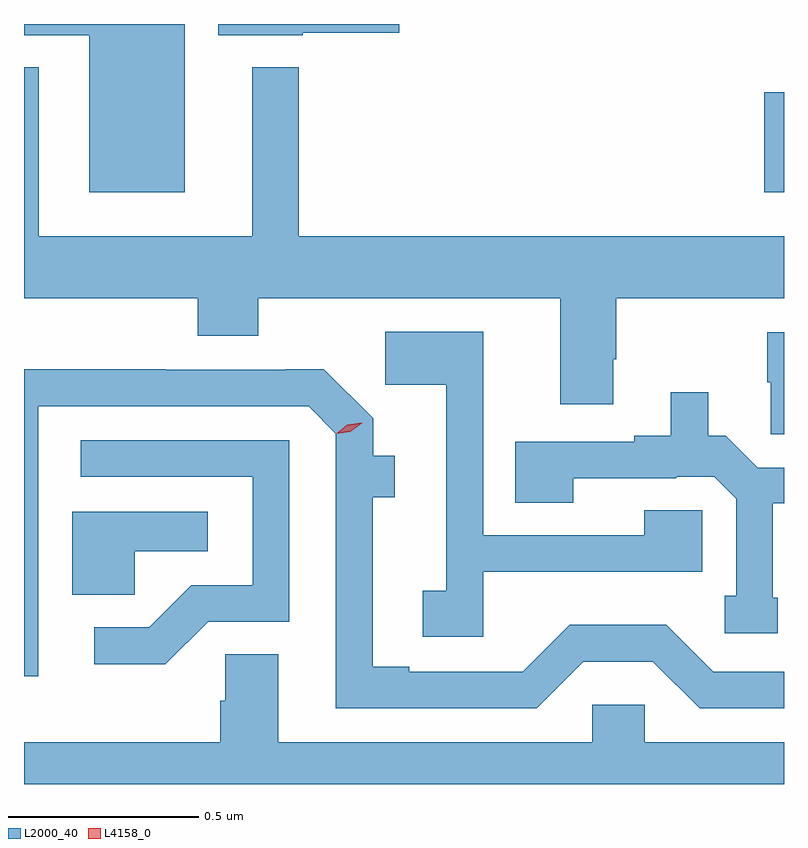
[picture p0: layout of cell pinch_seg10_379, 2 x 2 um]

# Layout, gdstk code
import gdstk
lib = gdstk.Library(unit=1e-6, precision=1e-09)
def R(c, l, rs):  # rectangles x0, y0, x1, y1
    for r in rs: c.add(gdstk.rectangle(r[:2], r[2:], *l))
def P(c, l, *ps):  # polygons
    for p in ps: c.add(gdstk.Polygon(p, *l))
L2000_40 = (2000, 40)
L4158_0 = (4158, 0)

pinch_seg10_379 = lib.new_cell('pinch_seg10_379')
R(pinch_seg10_379, L2000_40, [(448.19,1268.627,448.242,1268.89)])
P(pinch_seg10_379, L2000_40, [(446.976,1269.047),(447.229,1269.047),(447.229,1269.07),(446.753,1269.07),(446.753,1269.041),(446.976,1269.041)],
  [(446.665,1269.07),(446.242,1269.07),(446.242,1269.041),(446.414,1269.041),(446.414,1268.627),(446.665,1268.627)],
  [(447.793,1268.188),(447.801,1268.188),(447.801,1268.348),(448.242,1268.348),(448.242,1268.512),(446.965,1268.512),(446.965,1268.956),(446.843,1268.956),(446.843,1268.512),(446.281,1268.512),(446.281,1268.956),(446.242,1268.956),(446.242,1268.348),(446.699,1268.348),(446.699,1268.249),(446.859,1268.249),(446.859,1268.348),(447.653,1268.348),(447.653,1268.07),(447.793,1268.07)],
  [(447.45,1267.628),(447.917,1267.628),(447.917,1267.629),(448.027,1267.629),(448.027,1267.79),(447.874,1267.79),(447.874,1267.725),(447.45,1267.725),(447.45,1268.26),(447.192,1268.26),(447.192,1268.121),(447.353,1268.121),(447.353,1267.578),(447.291,1267.578),(447.291,1267.458),(447.45,1267.458)],
  [(448.242,1268.259),(448.198,1268.259),(448.198,1268.127),(448.207,1268.127),(448.207,1267.99),(448.242,1267.99)],
  [(447.714,1267.392),(447.897,1267.392),(448.02,1267.269),(448.242,1267.269),(448.242,1267.365),(448.056,1267.365),(447.932,1267.489),(447.678,1267.489),(447.554,1267.365),(447.256,1267.365),(447.256,1267.378),(447.16,1267.378),(447.16,1267.824),(447.217,1267.824),(447.217,1267.934),(447.161,1267.934),(447.161,1268.032),(447.031,1268.162),(446.93,1268.162),(446.93,1268.16),(446.615,1268.16),(446.615,1268.162),(446.242,1268.162),(446.242,1267.353),(446.28,1267.353),(446.28,1268.064),(446.991,1268.064),(447.063,1267.992),(447.063,1267.269),(447.591,1267.269)],
  [(448.225,1267.56),(448.212,1267.56),(448.212,1267.809),(448.242,1267.809),(448.242,1267.902),(448.173,1267.902),(448.089,1267.986),(448.042,1267.986),(448.042,1268.101),(447.944,1268.101),(447.944,1267.986),(447.848,1267.986),(447.848,1267.971),(447.535,1267.971),(447.535,1267.81),(447.687,1267.81),(447.687,1267.875),(447.959,1267.875),(447.959,1267.878),(448.059,1267.878),(448.116,1267.821),(448.116,1267.566),(448.086,1267.566),(448.086,1267.467),(448.225,1267.467)],
  [(446.727,1267.497),(446.94,1267.497),(446.94,1267.974),(446.391,1267.974),(446.391,1267.878),(446.844,1267.878),(446.844,1267.593),(446.682,1267.593),(446.571,1267.482),(446.427,1267.482),(446.427,1267.385),(446.614,1267.385)],
  [(446.533,1267.682),(446.725,1267.682),(446.725,1267.786),(446.369,1267.786),(446.369,1267.568),(446.533,1267.568)],
  [(448.242,1267.18),(447.876,1267.18),(447.876,1267.278),(447.738,1267.278),(447.738,1267.18),(446.911,1267.18),(446.911,1267.412),(446.772,1267.412),(446.772,1267.289),(446.759,1267.289),(446.759,1267.18),(446.242,1267.18),(446.242,1267.07),(448.242,1267.07)])
P(pinch_seg10_379, L4158_0, [(447.064,1267.992),(447.064,1267.992),(447.064,1267.992),(447.093,1268.016),(447.13,1268.021),(447.131,1268.021),(447.131,1268.02),(447.101,1267.997)])

lib.write_gds('pinch_seg10_379.gds')
